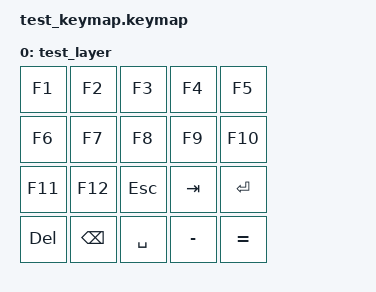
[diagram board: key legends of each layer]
/*
 * TEST KEYMAP - Para verificar mapeo de teclas
 * Presiona cada tecla y observa la salida UART
 */

#include <behaviors.dtsi>
#include <dt-bindings/zmk/keys.h>
#include <dt-bindings/zmk/zmk.h>

/ {
    keymap {
        compatible = "zmk,keymap";

        test_layer {
            bindings = <
&kp F1   &kp F2   &kp F3   &kp F4   &kp F5
&kp F6   &kp F7   &kp F8   &kp F9   &kp F10
&kp F11  &kp F12  &kp ESC  &kp TAB  &kp RET
&kp DEL  &kp BSPC &kp SPACE &kp MINUS &kp EQUAL
            >;
        };
    };
};
